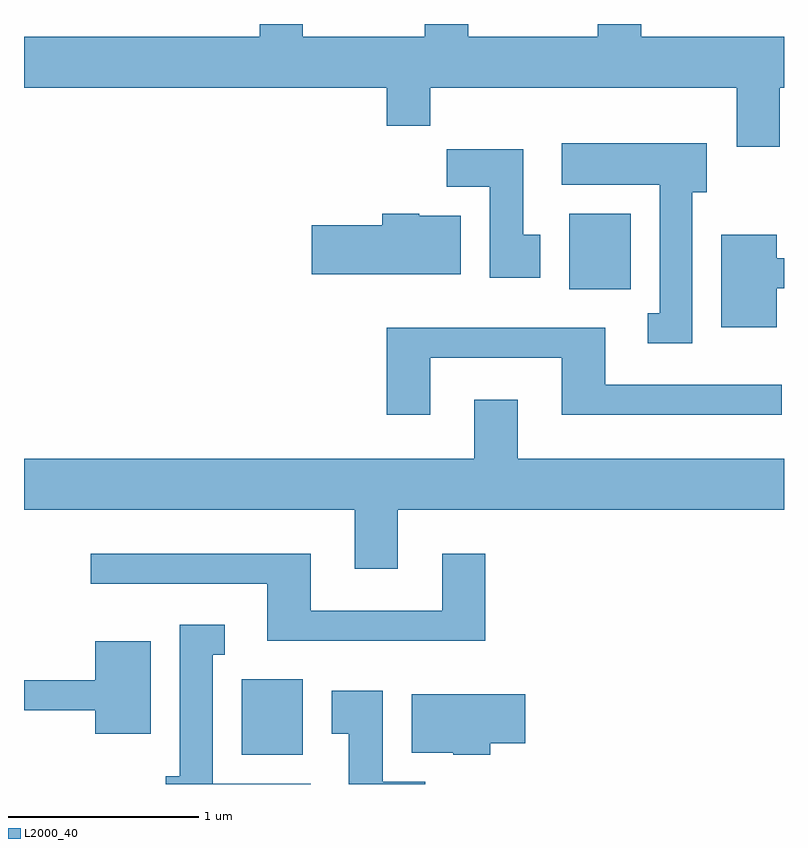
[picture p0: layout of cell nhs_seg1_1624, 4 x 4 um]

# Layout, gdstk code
import gdstk
lib = gdstk.Library(unit=1e-6, precision=1e-09)
def R(c, l, rs):  # rectangles x0, y0, x1, y1
    for r in rs: c.add(gdstk.rectangle(r[:2], r[2:], *l))
def P(c, l, *ps):  # polygons
    for p in ps: c.add(gdstk.Polygon(p, *l))
L2000_40 = (2000, 40)

nhs_seg1_1624 = lib.new_cell('nhs_seg1_1624')
R(nhs_seg1_1624, L2000_40, [(236.756,873.866,237.079,874.264), (238.481,876.316,238.804,876.714)])
P(nhs_seg1_1624, L2000_40, [(239.589,877.376),(239.611,877.376),(239.611,877.644),(238.859,877.644),(238.859,877.712),(238.631,877.712),(238.631,877.644),(237.949,877.644),(237.949,877.712),(237.721,877.712),(237.721,877.644),(237.079,877.644),(237.079,877.712),(236.851,877.712),(236.851,877.644),(235.611,877.644),(235.611,877.376),(237.521,877.376),(237.521,877.176),(237.749,877.176),(237.749,877.376),(239.361,877.376),(239.361,877.066),(239.589,877.066)],
  [(239.129,876.826),(239.204,876.826),(239.204,877.084),(238.441,877.084),(238.441,876.866),(238.956,876.866),(238.956,876.189),(238.893,876.189),(238.893,876.031),(239.129,876.031)],
  [(238.329,876.604),(238.239,876.604),(238.239,877.054),(237.836,877.054),(237.836,876.856),(238.061,876.856),(238.061,876.376),(238.329,876.376)],
  [(237.909,876.704),(237.69,876.704),(237.69,876.714),(237.496,876.714),(237.496,876.654),(237.126,876.654),(237.126,876.396),(237.909,876.396)],
  [(239.574,876.321),(239.611,876.321),(239.611,876.479),(239.574,876.479),(239.574,876.604),(239.281,876.604),(239.281,876.116),(239.574,876.116)],
  [(237.749,875.956),(238.441,875.956),(238.441,875.656),(239.598,875.656),(239.598,875.814),(238.669,875.814),(238.669,876.114),(237.521,876.114),(237.521,875.656),(237.749,875.656)],
  [(237.579,875.156),(239.611,875.156),(239.611,875.424),(238.209,875.424),(238.209,875.734),(237.981,875.734),(237.981,875.424),(235.611,875.424),(235.611,875.156),(237.351,875.156),(237.351,874.846),(237.579,874.846)],
  [(238.039,874.924),(237.811,874.924),(237.811,874.624),(237.119,874.624),(237.119,874.924),(235.963,874.924),(235.963,874.766),(236.891,874.766),(236.891,874.466),(238.039,874.466)],
  [(237.119,873.714),(236.604,873.714),(236.604,874.391),(236.668,874.391),(236.668,874.549),(236.431,874.549),(236.431,873.754),(236.356,873.754),(236.356,873.712),(237.119,873.712)],
  [(236.279,874.464),(235.986,874.464),(235.986,874.259),(235.611,874.259),(235.611,874.101),(235.986,874.101),(235.986,873.976),(236.279,873.976)],
  [(237.724,873.724),(237.499,873.724),(237.499,874.204),(237.231,874.204),(237.231,873.976),(237.321,873.976),(237.321,873.712),(237.724,873.712)],
  [(238.064,873.926),(238.249,873.926),(238.249,874.184),(237.651,874.184),(237.651,873.876),(237.87,873.876),(237.87,873.866),(238.064,873.866)])

lib.write_gds('nhs_seg1_1624.gds')
